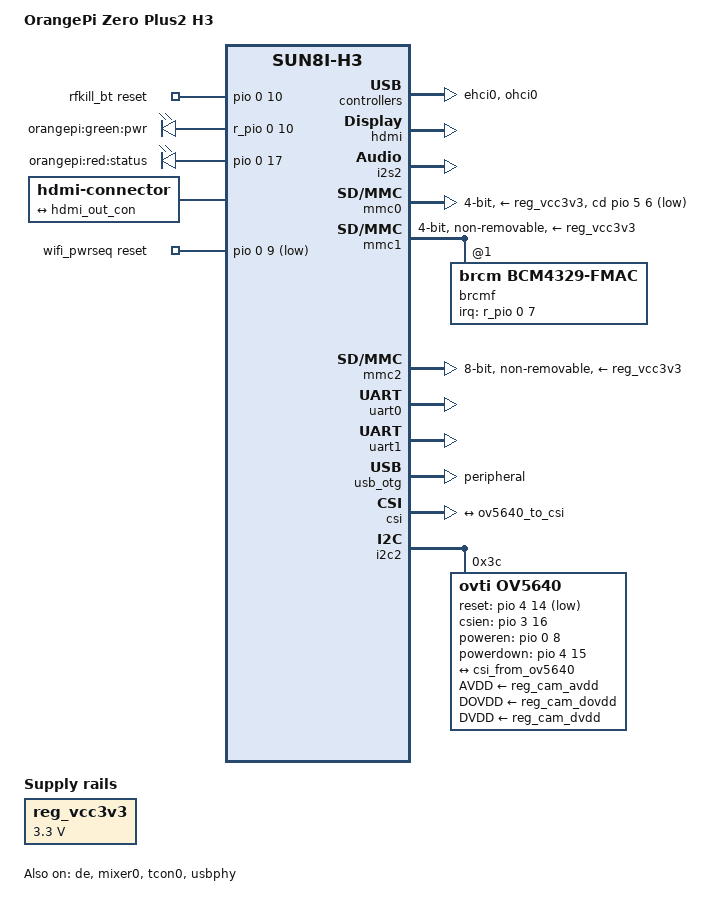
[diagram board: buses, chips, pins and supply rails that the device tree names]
/*
 * Copyright (C) 2017 Jagan Teki <jteki@openedev.com>
 * Copyright (C) 2018 Diego Rondini <diego.rondini@kynetics.com>
 *
 * This file is dual-licensed: you can use it either under the terms
 * of the GPL or the X11 license, at your option. Note that this dual
 * licensing only applies to this file, and not this project as a
 * whole.
 *
 *  a) This file is free software; you can redistribute it and/or
 *     modify it under the terms of the GNU General Public License as
 *     published by the Free Software Foundation; either version 2 of the
 *     License, or (at your option) any later version.
 *
 *     This file is distributed in the hope that it will be useful,
 *     but WITHOUT ANY WARRANTY; without even the implied warranty of
 *     MERCHANTABILITY or FITNESS FOR A PARTICULAR PURPOSE.  See the
 *     GNU General Public License for more details.
 *
 * Or, alternatively,
 *
 *  b) Permission is hereby granted, free of charge, to any person
 *     obtaining a copy of this software and associated documentation
 *     files (the "Software"), to deal in the Software without
 *     restriction, including without limitation the rights to use,
 *     copy, modify, merge, publish, distribute, sublicense, and/or
 *     sell copies of the Software, and to permit persons to whom the
 *     Software is furnished to do so, subject to the following
 *     conditions:
 *
 *     The above copyright notice and this permission notice shall be
 *     included in all copies or substantial portions of the Software.
 *
 *     THE SOFTWARE IS PROVIDED "AS IS", WITHOUT WARRANTY OF ANY KIND,
 *     EXPRESS OR IMPLIED, INCLUDING BUT NOT LIMITED TO THE WARRANTIES
 *     OF MERCHANTABILITY, FITNESS FOR A PARTICULAR PURPOSE AND
 *     NONINFRINGEMENT. IN NO EVENT SHALL THE AUTHORS OR COPYRIGHT
 *     HOLDERS BE LIABLE FOR ANY CLAIM, DAMAGES OR OTHER LIABILITY,
 *     WHETHER IN AN ACTION OF CONTRACT, TORT OR OTHERWISE, ARISING
 *     FROM, OUT OF OR IN CONNECTION WITH THE SOFTWARE OR THE USE OR
 *     OTHER DEALINGS IN THE SOFTWARE.
 */

/dts-v1/;

#include "sun8i-h3.dtsi"
#include "sunxi-common-regulators.dtsi"

#include <dt-bindings/gpio/gpio.h>

/ {
	model = "OrangePi Zero Plus2 H3";
	compatible = "xunlong,orangepi-zero-plus2-h3", "allwinner,sun8i-h3";

	aliases {
		serial0 = &uart0;
		ethernet1 = &brcmf;
	};

        rfkill_bt {
                compatible = "rfkill-gpio";
                pinctrl-names = "default";
                pinctrl-0 = <&bt_pwr_pin>;
                reset-gpios = <&pio 0 10 GPIO_ACTIVE_HIGH>;
                clocks = <&rtc 1>;
                clock-names = "ext_clock";
                rfkill-name = "sunxi-bt";
                rfkill-type = "bluetooth";
        };

	chosen {
		stdout-path = "serial0:115200n8";
	};

	leds {
		compatible = "gpio-leds";

		pwr_led {
			label = "orangepi:green:pwr";
			gpios = <&r_pio 0 10 GPIO_ACTIVE_HIGH>;
			default-state = "on";
		};

		status_led {
			label = "orangepi:red:status";
			gpios = <&pio 0 17 GPIO_ACTIVE_HIGH>;
			linux,default-trigger = "heartbeat";
		};
	};

	connector {
		compatible = "hdmi-connector";
		type = "a";

		port {
			hdmi_con_in: endpoint {
				remote-endpoint = <&hdmi_out_con>;
			};
		};
	};

	reg_vcc3v3: vcc3v3 {
		compatible = "regulator-fixed";
		regulator-name = "vcc3v3";
		regulator-min-microvolt = <3300000>;
		regulator-max-microvolt = <3300000>;
	};

	wifi_pwrseq: wifi_pwrseq {
		compatible = "mmc-pwrseq-simple";
                clocks = <&rtc 1>;
                clock-names = "ext_clock";
		reset-gpios = <&pio 0 9 GPIO_ACTIVE_LOW>; /* PA9 */
		post-power-on-delay-ms = <200>;
	};
};

&de {
	status = "okay";
};

&ehci0 {
	status = "okay";
};


&hdmi {
	status = "okay";
};

&hdmi_out {
	hdmi_out_con: endpoint {
		remote-endpoint = <&hdmi_con_in>;
	};
};

&sound_hdmi {
	status = "okay";
};

&i2s2 {
	status = "okay";
};

&mixer0 {
	status = "okay";
};

&tcon0 {
	status = "okay";
};

&mmc0 {
	vmmc-supply = <&reg_vcc3v3>;
	bus-width = <4>;
	cd-gpios = <&pio 5 6 GPIO_ACTIVE_LOW>;
	status = "okay";
};

&mmc1 {
	vmmc-supply = <&reg_vcc3v3>;
	vqmmc-supply = <&reg_vcc3v3>;
	mmc-pwrseq = <&wifi_pwrseq>;
	bus-width = <4>;
	non-removable;
	status = "okay";

	brcmf: wifi@1 {
		reg = <1>;
		compatible = "brcm,bcm4329-fmac";
		interrupt-parent = <&r_pio>;
		interrupts = <0 7 IRQ_TYPE_LEVEL_LOW>;	/* PL7 */
		interrupt-names = "host-wake";
	};
};

&mmc2 {
	pinctrl-names = "default";
	pinctrl-0 = <&mmc2_8bit_pins>;
	vmmc-supply = <&reg_vcc3v3>;
	bus-width = <8>;
	non-removable;
	cap-mmc-hw-reset;
	status = "okay";
};

&pio {
	bt_pwr_pin: bt_pwr_pin@0 {
		pins = "PA10";
		function = "gpio_out";
	};
};

&ohci0 {
	status = "okay";
};

&spi0 {
	/* Disable SPI NOR by default: it optional on Orange Pi Zero boards */
	status = "disabled";

	flash@0 {
		#address-cells = <1>;
		#size-cells = <1>;
		compatible = "mxicy,mx25l1606e", "winbond,w25q128";
		reg = <0>;
		spi-max-frequency = <40000000>;
	};
};

&uart0 {
	pinctrl-names = "default";
	pinctrl-0 = <&uart0_pa_pins>;
	status = "okay";
};

&uart1 {
	pinctrl-names = "default";
	pinctrl-0 = <&uart1_pins>, <&uart1_rts_cts_pins>;
	status = "okay";
};

&usb_otg {
	dr_mode = "peripheral";
	status = "okay";
};

&usbphy {
	/*
	 * USB Type-A port VBUS is always on. However, MicroUSB VBUS can only
	 * power up the board; when it's used as OTG port, this VBUS is
	 * always off even if the board is powered via GPIO pins.
	 */
	status = "okay";
	usb0_id_det-gpios = <&pio 6 12 GPIO_ACTIVE_HIGH>; /* PG12 */
};

&csi {
	status = "okay";
	
	port {
		#address-cells = <1>;
		#size-cells = <0>;
		
		/* Parallel bus endpoint */
		csi_from_ov5640: endpoint {
			remote-endpoint = <&ov5640_to_csi>;
			bus-width = <8>;
			data-shift = <2>;
			hsync-active = <1>; /* Active high */
			vsync-active = <0>; /* Active low */
			data-active = <1>;  /* Active high */
			pclk-sample = <1>;  /* Rising */
		};
	};
};

&i2c2 {
	status = "okay";

	ov5640: camera@3c {
		compatible = "ovti,ov5640";
		reg = <0x3c>;
		pinctrl-names = "default";
		pinctrl-0 = <&csi_mclk_pin>;
		clocks = <&ccu CLK_CSI_MCLK>;
		clock-names = "xclk";
		reset-gpios = <&pio 4 14 GPIO_ACTIVE_LOW>;
		csien-gpios = <&pio 3 16 GPIO_ACTIVE_HIGH>;
		poweren-gpios = <&pio 0 8 GPIO_ACTIVE_HIGH>;
		powerdown-gpios = <&pio 4 15 GPIO_ACTIVE_HIGH>;
		AVDD-supply = <&reg_cam_avdd>;
		DOVDD-supply = <&reg_cam_dovdd>;
		DVDD-supply = <&reg_cam_dvdd>;

		port {
			ov5640_to_csi: endpoint {
				remote-endpoint = <&csi_from_ov5640>;
				bus-width = <8>;
				data-shift = <2>;
				hsync-active = <1>; /* Active high */
				vsync-active = <0>; /* Active low */
				data-active = <1>;  /* Active high */
				pclk-sample = <1>;  /* Rising */
				};
		};
	};
};

&i2c2_pins {
	bias-pull-up;
};
